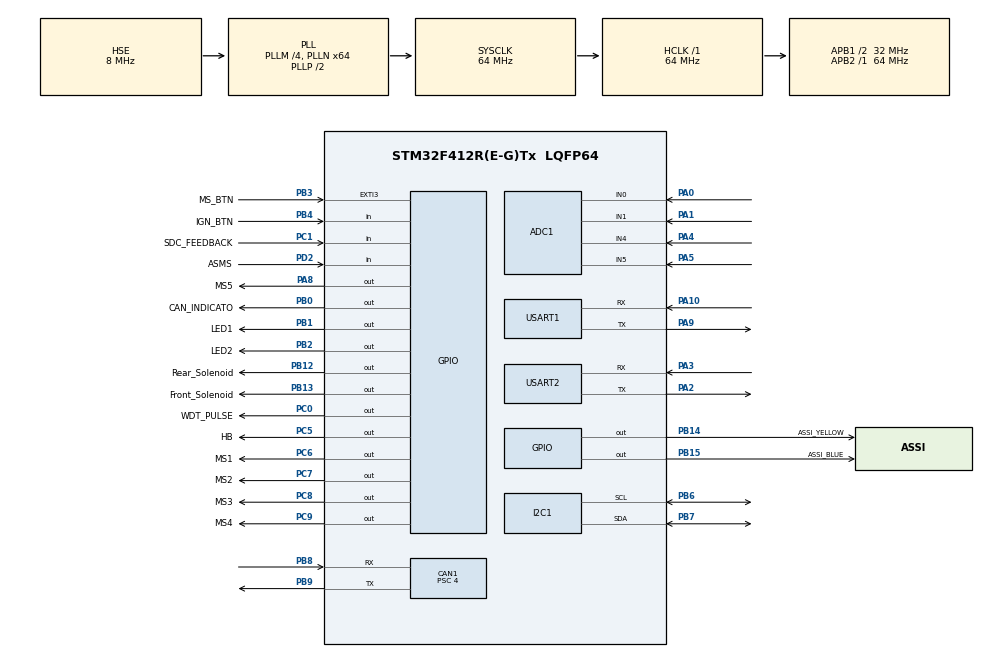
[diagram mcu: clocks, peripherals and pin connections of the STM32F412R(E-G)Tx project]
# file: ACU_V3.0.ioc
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ADC1.Channel-0\#ChannelRegularConversion=ADC_CHANNEL_4
ADC1.Channel-1\#ChannelRegularConversion=ADC_CHANNEL_5
ADC1.Channel-2\#ChannelRegularConversion=ADC_CHANNEL_TEMPSENSOR
ADC1.Channel-3\#ChannelRegularConversion=ADC_CHANNEL_VREFINT
ADC1.DMAContinuousRequests=ENABLE
ADC1.EOCSelection=ADC_EOC_SEQ_CONV
ADC1.ExternalTrigConv=ADC_EXTERNALTRIGCONV_T8_TRGO
ADC1.NbrOfConversion=4
ADC1.NbrOfConversionFlag=1
ADC1.Rank-0\#ChannelRegularConversion=1
ADC1.Rank-1\#ChannelRegularConversion=2
ADC1.Rank-2\#ChannelRegularConversion=3
ADC1.Rank-3\#ChannelRegularConversion=4
ADC1.SamplingTime-0\#ChannelRegularConversion=ADC_SAMPLETIME_480CYCLES
ADC1.SamplingTime-1\#ChannelRegularConversion=ADC_SAMPLETIME_480CYCLES
ADC1.SamplingTime-2\#ChannelRegularConversion=ADC_SAMPLETIME_480CYCLES
ADC1.SamplingTime-3\#ChannelRegularConversion=ADC_SAMPLETIME_480CYCLES
ADC1.master=1
CAN1.ABOM=ENABLE
CAN1.BS1=CAN_BS1_5TQ
CAN1.BS2=CAN_BS2_2TQ
CAN1.CalculateBaudRate=1000000
CAN1.CalculateTimeBit=1000
CAN1.CalculateTimeQuantum=125.0
CAN1.NART=ENABLE
CAN1.Prescaler=4
CAN1.SJW=CAN_SJW_2TQ
Dma.ADC1.0.Direction=DMA_PERIPH_TO_MEMORY
Dma.ADC1.0.FIFOMode=DMA_FIFOMODE_DISABLE
Dma.ADC1.0.Instance=DMA2_Stream0
Dma.ADC1.0.MemDataAlignment=DMA_MDATAALIGN_WORD
Dma.ADC1.0.MemInc=DMA_MINC_ENABLE
Dma.ADC1.0.Mode=DMA_CIRCULAR
Dma.ADC1.0.PeriphDataAlignment=DMA_PDATAALIGN_WORD
Dma.ADC1.0.PeriphInc=DMA_PINC_DISABLE
Dma.ADC1.0.Priority=DMA_PRIORITY_HIGH
Dma.Request0=ADC1
Dma.Request1=USART2_TX
Dma.Request2=USART1_TX
Dma.Request3=USART2_RX
Dma.Request4=USART1_RX
Dma.USART1_RX.4.Direction=DMA_PERIPH_TO_MEMORY
Dma.USART1_RX.4.FIFOMode=DMA_FIFOMODE_DISABLE
Dma.USART1_RX.4.Instance=DMA2_Stream2
Dma.USART1_RX.4.MemDataAlignment=DMA_MDATAALIGN_BYTE
Dma.USART1_RX.4.MemInc=DMA_MINC_ENABLE
Dma.USART1_RX.4.Mode=DMA_NORMAL
Dma.USART1_RX.4.PeriphDataAlignment=DMA_PDATAALIGN_BYTE
Dma.USART1_RX.4.PeriphInc=DMA_PINC_DISABLE
Dma.USART1_RX.4.Priority=DMA_PRIORITY_LOW
Dma.USART1_TX.2.Direction=DMA_MEMORY_TO_PERIPH
Dma.USART1_TX.2.FIFOMode=DMA_FIFOMODE_ENABLE
Dma.USART1_TX.2.FIFOThreshold=DMA_FIFO_THRESHOLD_FULL
Dma.USART1_TX.2.Instance=DMA2_Stream7
Dma.USART1_TX.2.MemBurst=DMA_MBURST_SINGLE
Dma.USART1_TX.2.MemDataAlignment=DMA_MDATAALIGN_BYTE
Dma.USART1_TX.2.MemInc=DMA_MINC_ENABLE
Dma.USART1_TX.2.Mode=DMA_NORMAL
Dma.USART1_TX.2.PeriphBurst=DMA_PBURST_SINGLE
Dma.USART1_TX.2.PeriphDataAlignment=DMA_PDATAALIGN_BYTE
Dma.USART1_TX.2.PeriphInc=DMA_PINC_DISABLE
Dma.USART1_TX.2.Priority=DMA_PRIORITY_MEDIUM
Dma.USART2_RX.3.Direction=DMA_PERIPH_TO_MEMORY
Dma.USART2_RX.3.FIFOMode=DMA_FIFOMODE_DISABLE
Dma.USART2_RX.3.Instance=DMA1_Stream5
Dma.USART2_RX.3.MemDataAlignment=DMA_MDATAALIGN_BYTE
Dma.USART2_RX.3.MemInc=DMA_MINC_ENABLE
Dma.USART2_RX.3.Mode=DMA_NORMAL
Dma.USART2_RX.3.PeriphDataAlignment=DMA_PDATAALIGN_BYTE
Dma.USART2_RX.3.PeriphInc=DMA_PINC_DISABLE
Dma.USART2_RX.3.Priority=DMA_PRIORITY_LOW
Dma.USART2_TX.1.Direction=DMA_MEMORY_TO_PERIPH
Dma.USART2_TX.1.FIFOMode=DMA_FIFOMODE_ENABLE
Dma.USART2_TX.1.FIFOThreshold=DMA_FIFO_THRESHOLD_FULL
Dma.USART2_TX.1.Instance=DMA1_Stream6
Dma.USART2_TX.1.MemBurst=DMA_MBURST_SINGLE
Dma.USART2_TX.1.MemDataAlignment=DMA_MDATAALIGN_BYTE
Dma.USART2_TX.1.MemInc=DMA_MINC_ENABLE
Dma.USART2_TX.1.Mode=DMA_NORMAL
Dma.USART2_TX.1.PeriphBurst=DMA_PBURST_SINGLE
Dma.USART2_TX.1.PeriphDataAlignment=DMA_PDATAALIGN_BYTE
Dma.USART2_TX.1.PeriphInc=DMA_PINC_DISABLE
Dma.USART2_TX.1.Priority=DMA_PRIORITY_LOW
FREERTOS.INCLUDE_uxTaskGetStackHighWaterMark=1
FREERTOS.INCLUDE_vTaskDelayUntil=1
FREERTOS.Queues01=canRxQueue,64,can_frame_t,0,Dynamic,NULL,NULL
FREERTOS.Tasks01=controlTask,2,512,ControlTask,As external,NULL,Dynamic,NULL,NULL;telemetryTask,-1,768,TelemetryTask,As external,NULL,Dynamic,NULL,NULL;loggerTask,-2,512,LoggerTask,As external,NULL,Dynamic,NULL,NULL
FREERTOS.configCHECK_FOR_STACK_OVERFLOW=2
FREERTOS.configTOTAL_HEAP_SIZE=24576
FREERTOS.configUSE_MALLOC_FAILED_HOOK=1
FREERTOS.configUSE_NEWLIB_REENTRANT=1
Mcu.Family=STM32F4
Mcu.Name=STM32F412R(E-G)Tx
Mcu.Package=LQFP64
NVIC.CAN1_RX0_IRQn=true\:5\:0\:false\:false\:true\:true\:true\:true\:true
NVIC.CAN1_RX1_IRQn=true\:5\:0\:false\:false\:true\:true\:true\:true\:true
NVIC.DMA1_Stream5_IRQn=true\:5\:0\:false\:false\:true\:true\:false\:true\:true
NVIC.DMA1_Stream6_IRQn=true\:5\:0\:false\:false\:true\:true\:false\:true\:true
NVIC.DMA2_Stream0_IRQn=true\:5\:0\:false\:false\:true\:true\:false\:true\:true
NVIC.DMA2_Stream2_IRQn=true\:5\:0\:false\:false\:true\:true\:false\:true\:true
NVIC.DMA2_Stream7_IRQn=true\:5\:0\:false\:false\:true\:true\:false\:true\:true
NVIC.EXTI3_IRQn=true\:5\:0\:false\:false\:true\:true\:true\:true\:true
NVIC.PriorityGroup=NVIC_PRIORITYGROUP_4
NVIC.TIM2_IRQn=true\:5\:0\:false\:false\:true\:true\:true\:true\:true
NVIC.USART1_IRQn=true\:5\:0\:false\:false\:true\:true\:true\:true\:true
NVIC.USART2_IRQn=true\:5\:0\:false\:false\:true\:true\:true\:true\:true
PA0.Signal=ADCx_IN0
PA1.Signal=ADCx_IN1
PA10.Mode=Asynchronous
PA10.Signal=USART1_RX
PA13.Mode=Serial_Wire
PA13.Signal=SYS_JTMS-SWDIO
PA14.Mode=Serial_Wire
PA14.Signal=SYS_JTCK-SWCLK
PA2.Mode=Asynchronous
PA2.Signal=USART2_TX
PA3.Mode=Asynchronous
PA3.Signal=USART2_RX
PA4.Signal=ADCx_IN4
PA5.Signal=ADCx_IN5
PA8.GPIO_Label=MS5
PA8.Signal=GPIO_Output
PA9.Mode=Asynchronous
PA9.Signal=USART1_TX
PB0.GPIO_Label=CAN_INDICATO
PB0.Signal=GPIO_Output
PB1.GPIO_Label=LED1
PB1.Signal=GPIO_Output
PB12.GPIO_Label=Rear_Solenoid
PB12.Signal=GPIO_Output
PB13.GPIO_Label=Front_Solenoid
PB13.Signal=GPIO_Output
PB14.GPIO_Label=ASSI_YELLOW
PB14.Signal=GPIO_Output
PB15.GPIO_Label=ASSI_BLUE
PB15.Signal=GPIO_Output
PB2.GPIO_Label=LED2
PB2.Signal=GPIO_Output
PB3.GPIO_Label=MS_BTN
PB3.Signal=GPXTI3
PB4.GPIO_Label=IGN_BTN
PB4.Signal=GPIO_Input
PB6.Mode=I2C
PB6.Signal=I2C1_SCL
PB7.Mode=I2C
PB7.Signal=I2C1_SDA
PB8.Mode=CAN_Activate
PB8.Signal=CAN1_RX
PB9.Mode=CAN_Activate
PB9.Signal=CAN1_TX
PC0.GPIO_Label=WDT_PULSE
PC0.Signal=GPIO_Output
PC1.GPIO_Label=SDC_FEEDBACK
PC1.Signal=GPIO_Input
PC14-OSC32_IN.Mode=LSE-External-Clock-Source
PC14-OSC32_IN.Signal=RCC_OSC32_IN
PC15-OSC32_OUT.Mode=LSE-External-Clock-Source
PC15-OSC32_OUT.Signal=RCC_OSC32_OUT
PC5.GPIO_Label=HB
PC5.Signal=GPIO_Output
PC6.GPIO_Label=MS1
PC6.Signal=GPIO_Output
PC7.GPIO_Label=MS2
PC7.Signal=GPIO_Output
PC8.GPIO_Label=MS3
PC8.Signal=GPIO_Output
PC9.GPIO_Label=MS4
PC9.Signal=GPIO_Output
PD2.GPIO_Label=ASMS
PD2.Signal=GPIO_Input
PH0\ -\ OSC_IN.Mode=HSE-External-Oscillator
PH0\ -\ OSC_IN.Signal=RCC_OSC_IN
PH1\ -\ OSC_OUT.Mode=HSE-External-Oscillator
PH1\ -\ OSC_OUT.Signal=RCC_OSC_OUT
ProjectManager.HeapSize=0x200
ProjectManager.StackSize=0x400
ProjectManager.TargetToolchain=STM32CubeIDE
RCC.AHBFreq_Value=64000000
RCC.APB1CLKDivider=RCC_HCLK_DIV2
RCC.APB1Freq_Value=32000000
RCC.APB1TimFreq_Value=64000000
RCC.APB2Freq_Value=64000000
RCC.APB2TimFreq_Value=64000000
RCC.CortexFreq_Value=64000000
RCC.HCLKFreq_Value=64000000
RCC.HSE_VALUE=8000000
RCC.PLLM=4
RCC.PLLN=64
RCC.PLLQ=5
RCC.PLLSourceVirtual=RCC_PLLSOURCE_HSE
RCC.SYSCLKFreq_VALUE=64000000
RCC.SYSCLKSource=RCC_SYSCLKSOURCE_PLLCLK
RCC.USBFreq_Value=25600000
RCC.VCOOutputFreq_Value=128000000
SH.ADCx_IN0.0=ADC1_IN0,IN0
SH.ADCx_IN1.0=ADC1_IN1,IN1
SH.ADCx_IN4.0=ADC1_IN4,IN4
SH.ADCx_IN5.0=ADC1_IN5,IN5
TIM2.AutoReloadPreload=TIM_AUTORELOAD_PRELOAD_ENABLE
TIM2.Period=999
TIM2.Prescaler=6399
TIM2.TIM_MasterOutputTrigger=TIM_TRGO_RESET
TIM8.AutoReloadPreload=TIM_AUTORELOAD_PRELOAD_ENABLE
TIM8.Period=999
TIM8.Prescaler=63
TIM8.TIM_MasterOutputTrigger=TIM_TRGO_UPDATE
USART1.VirtualMode=VM_ASYNC
USART2.VirtualMode=VM_ASYNC
VP_ADC1_TempSens_Input.Mode=IN-TempSens
VP_ADC1_Vref_Input.Mode=IN-Vrefint
VP_FREERTOS_VS_CMSIS_V1.Mode=CMSIS_V1
VP_RTC_VS_RTC_Activate.Mode=RTC_Enabled
VP_RTC_VS_RTC_Calendar.Mode=RTC_Calendar
VP_TIM2_VS_ClockSourceINT.Mode=Internal
VP_TIM8_VS_ClockSourceINT.Mode=Internal
board=custom

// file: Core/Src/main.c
/* USER CODE BEGIN Header */
/**
 ******************************************************************************
 * @file           : main.c
 * @brief          : Main program body
 ******************************************************************************
 * @attention
 *
 * Copyright (c) 2025 STMicroelectronics.
 * All rights reserved.
 *
 * This software is licensed under terms that can be found in the LICENSE file
 * in the root directory of this software component.
 * If no LICENSE file comes with this software, it is provided AS-IS.
 *
 ******************************************************************************
 */
/* USER CODE END Header */
#include "main.h"
#include "cmsis_os.h"
#include "adc.h"
#include "can.h"
#include "dma.h"
#include "i2c.h"
#include "rtc.h"
#include "tim.h"
#include "usart.h"
#include "gpio.h"

/* USER CODE BEGIN Includes */
#include "acu.h"
#include "acu_system.h"
#include "acu_tasks.h"
#include "inputs.h"
/* USER CODE END Includes */

/* USER CODE BEGIN PTD */
uint32_t ADC_Samples[4]; /* DMA: rear tank, front tank, chip temperature, VREFINT */
/* USER CODE END PTD */

void SystemClock_Config(void);
void MX_FREERTOS_Init(void);

int main(void)
{

  /* MCU Configuration--------------------------------------------------------*/

  /* Reset of all peripherals, Initializes the Flash interface and the Systick. */
  HAL_Init();

  /* Configure the system clock */
  SystemClock_Config();

  /* Initialize all configured peripherals */
  MX_GPIO_Init();
  MX_DMA_Init();
  MX_ADC1_Init();
  MX_CAN1_Init();
  MX_TIM8_Init();
  MX_USART2_UART_Init();
  MX_I2C1_Init();
  MX_TIM2_Init();
  MX_USART1_UART_Init();
  MX_RTC_Init();
  /* USER CODE BEGIN 2 */
	acu_hardware_start();
  /* USER CODE END 2 */

  /* Call init function for freertos objects (in cmsis_os2.c) */
  MX_FREERTOS_Init();

  /* Start scheduler */
  osKernelStart();

  /* We should never get here as control is now taken by the scheduler */

  /* Infinite loop */
	while (1) {

	}
}

void SystemClock_Config(void)
{
  RCC_OscInitTypeDef RCC_OscInitStruct = {0};
  RCC_ClkInitTypeDef RCC_ClkInitStruct = {0};

  /** Configure the main internal regulator output voltage
  */
  __HAL_RCC_PWR_CLK_ENABLE();
  __HAL_PWR_VOLTAGESCALING_CONFIG(PWR_REGULATOR_VOLTAGE_SCALE1);

  /** Initializes the RCC Oscillators according to the specified parameters
  * in the RCC_OscInitTypeDef structure.
  */
  RCC_OscInitStruct.OscillatorType = RCC_OSCILLATORTYPE_LSI|RCC_OSCILLATORTYPE_HSE;
  RCC_OscInitStruct.HSEState = RCC_HSE_ON;
  RCC_OscInitStruct.LSEState = RCC_LSE_BYPASS;
  RCC_OscInitStruct.LSIState = RCC_LSI_ON;
  RCC_OscInitStruct.PLL.PLLState = RCC_PLL_ON;
  RCC_OscInitStruct.PLL.PLLSource = RCC_PLLSOURCE_HSE;
  RCC_OscInitStruct.PLL.PLLM = 4;
  RCC_OscInitStruct.PLL.PLLN = 64;
  RCC_OscInitStruct.PLL.PLLP = RCC_PLLP_DIV2;
  RCC_OscInitStruct.PLL.PLLQ = 5;
  RCC_OscInitStruct.PLL.PLLR = 2;
  if (HAL_RCC_OscConfig(&RCC_OscInitStruct) != HAL_OK)
  {
    Error_Handler();
  }

  /** Initializes the CPU, AHB and APB buses clocks
  */
  RCC_ClkInitStruct.ClockType = RCC_CLOCKTYPE_HCLK|RCC_CLOCKTYPE_SYSCLK
                              |RCC_CLOCKTYPE_PCLK1|RCC_CLOCKTYPE_PCLK2;
  RCC_ClkInitStruct.SYSCLKSource = RCC_SYSCLKSOURCE_PLLCLK;
  RCC_ClkInitStruct.AHBCLKDivider = RCC_SYSCLK_DIV1;
  RCC_ClkInitStruct.APB1CLKDivider = RCC_HCLK_DIV2;
  RCC_ClkInitStruct.APB2CLKDivider = RCC_HCLK_DIV1;

  if (HAL_RCC_ClockConfig(&RCC_ClkInitStruct, FLASH_LATENCY_1) != HAL_OK)
  {
    Error_Handler();
  }
}

/* USER CODE BEGIN 4 */

void HAL_ADC_ConvCpltCallback(ADC_HandleTypeDef *hadc) {
	if (hadc->Instance == ADC1) {
		float chip_temp_c = system_chip_temperature(ADC_Samples[2], ADC_Samples[3]);
		inputs_on_adc_conversion(ADC_Samples[1], ADC_Samples[0], chip_temp_c);
	}
}

void HAL_CAN_RxFifo0MsgPendingCallback(CAN_HandleTypeDef *hcan) {
	CAN_RxHeaderTypeDef header;
	can_frame_t frame = { 0 };

	if (HAL_CAN_GetRxMessage(hcan, CAN_RX_FIFO0, &header, frame.data) != HAL_OK) {
		/* Drop it: a frame left in the FIFO re-fires this interrupt forever */
		SET_BIT(hcan->Instance->RF0R, CAN_RF0R_RFOM0);
		return;
	}
	frame.extended = header.IDE == CAN_ID_EXT;
	frame.id = frame.extended ? header.ExtId : header.StdId;
	frame.length = (uint8_t)header.DLC;
	acu_tasks_can_frame_from_isr(&frame);
}

void HAL_GPIO_EXTI_Callback(uint16_t GPIO_Pin) {
	if (GPIO_Pin == MS_BTN_Pin) {
		inputs_on_mission_button(HAL_GetTick());
	}
}

/* USER CODE END 4 */

void Error_Handler(void)
{
  /* USER CODE BEGIN Error_Handler_Debug */
	/* User can add his own implementation to report the HAL error return state */
	system_halt_safe();
  /* USER CODE END Error_Handler_Debug */
}

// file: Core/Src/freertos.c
/* USER CODE BEGIN Header */
/**
  ******************************************************************************
  * File Name          : freertos.c
  * Description        : Code for freertos applications
  ******************************************************************************
  * @attention
  *
  * Copyright (c) 2026 STMicroelectronics.
  * All rights reserved.
  *
  * This software is licensed under terms that can be found in the LICENSE file
  * in the root directory of this software component.
  * If no LICENSE file comes with this software, it is provided AS-IS.
  *
  ******************************************************************************
  */
/* USER CODE END Header */

#include "FreeRTOS.h"
#include "task.h"
#include "main.h"
#include "cmsis_os.h"

/* USER CODE BEGIN Includes */
#include "acu_tasks.h"
/* USER CODE END Includes */

osThreadId controlTaskHandle;
osThreadId telemetryTaskHandle;
osThreadId loggerTaskHandle;
osMessageQId canRxQueueHandle;

extern void ControlTask(void const * argument);
extern void TelemetryTask(void const * argument);
extern void LoggerTask(void const * argument);

void MX_FREERTOS_Init(void); /* (MISRA C 2004 rule 8.1) */

/* GetIdleTaskMemory prototype (linked to static allocation support) */
void vApplicationGetIdleTaskMemory( StaticTask_t **ppxIdleTaskTCBBuffer, StackType_t **ppxIdleTaskStackBuffer, uint32_t *pulIdleTaskStackSize );

/* Hook prototypes */
void vApplicationStackOverflowHook(xTaskHandle xTask, signed char *pcTaskName);
void vApplicationMallocFailedHook(void);

/* USER CODE BEGIN 4 */
__weak void vApplicationStackOverflowHook(xTaskHandle xTask, signed char *pcTaskName)
{
   /* Run time stack overflow checking is performed if
   configCHECK_FOR_STACK_OVERFLOW is defined to 1 or 2. This hook function is
   called if a stack overflow is detected. */
}
/* USER CODE END 4 */

/* USER CODE BEGIN 5 */
__weak void vApplicationMallocFailedHook(void)
{
   /* vApplicationMallocFailedHook() will only be called if
   configUSE_MALLOC_FAILED_HOOK is set to 1 in FreeRTOSConfig.h. It is a hook
   function that will get called if a call to pvPortMalloc() fails.
   pvPortMalloc() is called internally by the kernel whenever a task, queue,
   timer or semaphore is created. It is also called by various parts of the
   demo application. If heap_1.c or heap_2.c are used, then the size of the
   heap available to pvPortMalloc() is defined by configTOTAL_HEAP_SIZE in
   FreeRTOSConfig.h, and the xPortGetFreeHeapSize() API function can be used
   to query the size of free heap space that remains (although it does not
   provide information on how the remaining heap might be fragmented). */
}
/* USER CODE END 5 */

/* USER CODE BEGIN GET_IDLE_TASK_MEMORY */
static StaticTask_t xIdleTaskTCBBuffer;
static StackType_t xIdleStack[configMINIMAL_STACK_SIZE];

void vApplicationGetIdleTaskMemory( StaticTask_t **ppxIdleTaskTCBBuffer, StackType_t **ppxIdleTaskStackBuffer, uint32_t *pulIdleTaskStackSize )
{
  *ppxIdleTaskTCBBuffer = &xIdleTaskTCBBuffer;
  *ppxIdleTaskStackBuffer = &xIdleStack[0];
  *pulIdleTaskStackSize = configMINIMAL_STACK_SIZE;
  /* place for user code */
}
/* USER CODE END GET_IDLE_TASK_MEMORY */

void MX_FREERTOS_Init(void) {

  /* Create the queue(s) */
  /* definition and creation of canRxQueue */
  osMessageQDef(canRxQueue, 64, can_frame_t);
  canRxQueueHandle = osMessageCreate(osMessageQ(canRxQueue), NULL);

  /* Create the thread(s) */
  /* definition and creation of controlTask */
  osThreadDef(controlTask, ControlTask, osPriorityHigh, 0, 512);
  controlTaskHandle = osThreadCreate(osThread(controlTask), NULL);

  /* definition and creation of telemetryTask */
  osThreadDef(telemetryTask, TelemetryTask, osPriorityBelowNormal, 0, 768);
  telemetryTaskHandle = osThreadCreate(osThread(telemetryTask), NULL);

  /* definition and creation of loggerTask */
  osThreadDef(loggerTask, LoggerTask, osPriorityLow, 0, 512);
  loggerTaskHandle = osThreadCreate(osThread(loggerTask), NULL);

}

__weak void ControlTask(void const * argument)
{
  /* USER CODE BEGIN ControlTask */
  /* The tasks are "As external" in the .ioc: ControlTask, TelemetryTask and LoggerTask
   * are in acu_tasks.c, which overrides this weak one. */
  for(;;)
  {
    osDelay(1);
  }
  /* USER CODE END ControlTask */
}
